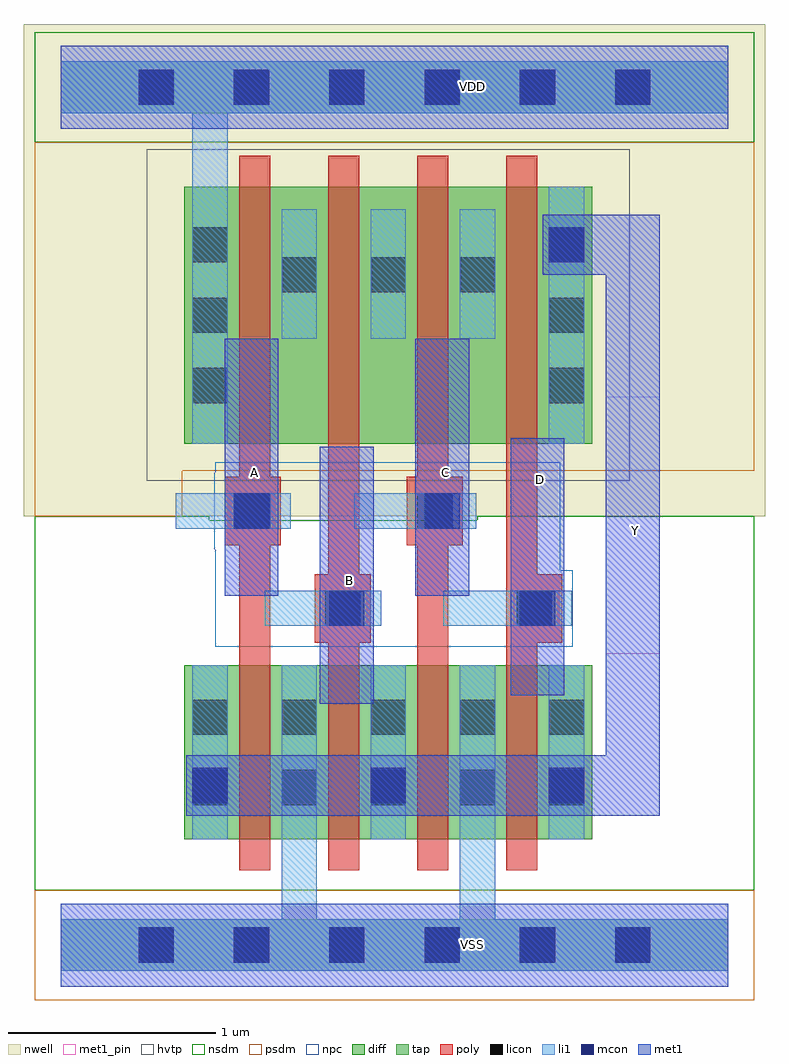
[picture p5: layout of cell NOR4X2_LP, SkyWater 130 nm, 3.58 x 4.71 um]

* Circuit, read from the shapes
.subckt NOR4X2_LP A B C D VDD VSS Y
XM1 VSS A Y VSS sky130_fd_pr__nfet_01v8 w=0.84 l=0.15
XM2 Y B VSS VSS sky130_fd_pr__nfet_01v8 w=0.84 l=0.15
XM3 VSS C Y VSS sky130_fd_pr__nfet_01v8 w=0.84 l=0.15
XM4 Y D VSS VSS sky130_fd_pr__nfet_01v8 w=0.84 l=0.15
XM5 n1 A VDD VDD sky130_fd_pr__pfet_01v8_hvt w=1.24 l=0.15
XM6 n2 B n1 VDD sky130_fd_pr__pfet_01v8_hvt w=1.24 l=0.15
XM7 n3 C n2 VDD sky130_fd_pr__pfet_01v8_hvt w=1.24 l=0.15
XM8 Y D n3 VDD sky130_fd_pr__pfet_01v8_hvt w=1.24 l=0.15
.ends

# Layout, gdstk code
from math import pi, radians
import gdstk
lib = gdstk.Library(unit=1e-6, precision=1e-09)
def R(c, l, rs):  # rectangles x0, y0, x1, y1
    for r in rs: c.add(gdstk.rectangle(r[:2], r[2:], *l))
def A(c, l, x, y, w, h, nx, ny, dx, dy):  # array of equal rectangles
    R(c, l, [(x+i*dx, y+j*dy, x+i*dx+w, y+j*dy+h) for i in range(nx) for j in range(ny)])
def P(c, l, *ps):  # polygons
    for p in ps: c.add(gdstk.Polygon(p, *l))
nwell = (64, 20)
diff = (65, 20)
tap = (65, 44)
poly = (66, 20)
licon = (66, 44)
li1 = (67, 20)
mcon = (67, 44)
met1_pin = (68, 16)
met1 = (68, 20)
hvtp = (78, 44)
nsdm = (93, 44)
psdm = (94, 20)
npc = (95, 20)

licondiff_c_cdns_7520169 = lib.new_cell('LICONDIFF_C_CDNS_752016907004')
R(licondiff_c_cdns_7520169, diff, [(-0.125,-0.145,0.125,0.145)])
R(licondiff_c_cdns_7520169, licon, [(-0.085,-0.085,0.085,0.085), (-0.085,-0.085,0.085,0.085)])

l1m1_c_cdns_752016907003 = lib.new_cell('L1M1_C_CDNS_752016907003')
R(l1m1_c_cdns_752016907003, li1, [(-0.165,-0.085,0.165,0.085)])
R(l1m1_c_cdns_752016907003, mcon, [(-0.085,-0.085,0.085,0.085)])
R(l1m1_c_cdns_752016907003, met1, [(-0.115,-0.145,0.115,0.145)])

l1m1_c_cdns_752016907001 = lib.new_cell('L1M1_C_CDNS_752016907001')
R(l1m1_c_cdns_752016907001, li1, [(-0.085,-0.165,0.085,0.165)])
R(l1m1_c_cdns_752016907001, mcon, [(-0.085,-0.085,0.085,0.085)])
R(l1m1_c_cdns_752016907001, met1, [(-0.115,-0.145,0.115,0.145)])

pyl1con_c_cdns_752016907 = lib.new_cell('PYL1CON_C_CDNS_752016907000')
R(pyl1con_c_cdns_752016907, poly, [(-0.135,-0.165,0.135,0.165)])
R(pyl1con_c_cdns_752016907, licon, [(-0.085,-0.085,0.085,0.085)])
R(pyl1con_c_cdns_752016907, npc, [(-0.185,-0.185,0.185,0.185)])

nor4x2_lp = lib.new_cell('NOR4X2_LP')
R(nor4x2_lp, nwell, [(-0.18,2.07,3.4,4.445)])
R(nor4x2_lp, diff, [(0.595,0.51,2.565,1.35), (0.595,2.42,2.565,3.66)])
A(nor4x2_lp, poly, 0.86, 0.36, 0.15, 3.45, 4, 1, 0.43, 0)
A(nor4x2_lp, licon, 0.375, -0.085, 0.17, 0.17, 6, 2, 0.46, 4.14)
A(nor4x2_lp, licon, 0.635, 0.675, 0.17, 0.17, 5, 2, 0.43, 0.34)
A(nor4x2_lp, licon, 0.635, 2.615, 0.17, 0.17, 1, 3, 0, 0.34)
A(nor4x2_lp, licon, 2.355, 2.615, 0.17, 0.17, 1, 3, 0, 0.34)
A(nor4x2_lp, li1, 0.635, 0.51, 0.17, 0.84, 3, 1, 0.86, 0)
R(nor4x2_lp, li1, [(2.355,2.42,2.525,3.66)])
P(nor4x2_lp, li1, [(3.22,4.265),(0,4.265),(0,4.015),(0.635,4.015),(0.635,2.42),(0.805,2.42),(0.805,4.015),(3.22,4.015)],
  [(3.22,0.125),(2.095,0.125),(2.095,1.35),(1.925,1.35),(1.925,0.125),(1.235,0.125),(1.235,1.35),(1.065,1.35),(1.065,0.125),(0,0.125),(0,-0.125),(3.22,-0.125)])
A(nor4x2_lp, mcon, 0.375, -0.085, 0.17, 0.17, 6, 2, 0.46, 4.14)
R(nor4x2_lp, met1_pin, [(1.25,1.165,1.51,2.405), (2.17,1.205,2.43,2.445), (2.63,1.405,2.89,2.645), (0.79,1.685,1.05,2.925), (1.71,1.685,1.97,2.925)])
P(nor4x2_lp, met1, [(2.89,3.525),(2.325,3.525),(2.325,3.235),(2.63,3.235),(2.63,0.915),(0.72,0.915),(0.72,0.625),(2.89,0.625)])
R(nor4x2_lp, hvtp, [(0.415,2.24,2.745,3.84)])
R(nor4x2_lp, nsdm, [(-0.125,3.875,3.345,4.405)])
P(nor4x2_lp, nsdm, [(3.345,2.07),(2.01,2.07),(2.01,2.05),(0.715,2.05),(0.715,2.07),(-0.125,2.07),(-0.125,0.265),(3.345,0.265)])
R(nor4x2_lp, psdm, [(-0.125,-0.265,3.345,0.265)])
P(nor4x2_lp, psdm, [(3.345,3.875),(-0.125,3.875),(-0.125,2.07),(0.585,2.07),(0.585,2.29),(3.345,2.29)])
R(nor4x2_lp, npc, [(0.745,1.44,2.41,2.33)])
nor4x2_lp.add(gdstk.FlexPath([(1.845,1.625),(2.405,1.625)], 0.17, ends="flush", simple_path=True, layer=67, datatype=20))  # li1
nor4x2_lp.add(gdstk.FlexPath([(2.01,2.925),(2.01,3.55)], 0.17, ends="flush", simple_path=True, layer=67, datatype=20))  # li1
nor4x2_lp.add(gdstk.FlexPath([(0.555,2.095),(1.11,2.095)], 0.17, ends="flush", simple_path=True, layer=67, datatype=20))  # li1
nor4x2_lp.add(gdstk.FlexPath([(1.415,2.095),(1.97,2.095)], 0.17, ends="flush", simple_path=True, layer=67, datatype=20))  # li1
nor4x2_lp.add(gdstk.FlexPath([(0.985,1.625),(1.54,1.625)], 0.17, ends="flush", simple_path=True, layer=67, datatype=20))  # li1
nor4x2_lp.add(gdstk.FlexPath([(1.58,2.925),(1.58,3.55)], 0.17, ends="flush", simple_path=True, layer=67, datatype=20))  # li1
nor4x2_lp.add(gdstk.FlexPath([(1.15,2.925),(1.15,3.55)], 0.17, ends="flush", simple_path=True, layer=67, datatype=20))  # li1
nor4x2_lp.add(gdstk.FlexPath([(0,4.14),(3.22,4.14)], 0.25, ends="flush", simple_path=True, layer=65, datatype=44))  # tap
nor4x2_lp.add(gdstk.FlexPath([(0,0),(3.22,0)], 0.25, ends="flush", simple_path=True, layer=65, datatype=44))  # tap
nor4x2_lp.add(gdstk.FlexPath([(0,4.14),(3.22,4.14)], 0.4, ends="flush", simple_path=True, layer=68, datatype=20))  # met1
nor4x2_lp.add(gdstk.FlexPath([(0,0),(3.22,0)], 0.4, ends="flush", simple_path=True, layer=68, datatype=20))  # met1
nor4x2_lp.add(gdstk.FlexPath([(1.84,1.685),(1.84,2.925)], 0.26, ends="flush", simple_path=True, layer=68, datatype=20))  # met1
nor4x2_lp.add(gdstk.FlexPath([(2.3,1.205),(2.3,2.445)], 0.26, ends="flush", simple_path=True, layer=68, datatype=20))  # met1
nor4x2_lp.add(gdstk.FlexPath([(0.92,1.685),(0.92,2.925)], 0.26, ends="flush", simple_path=True, layer=68, datatype=20))  # met1
nor4x2_lp.add(gdstk.FlexPath([(1.38,1.165),(1.38,2.405)], 0.26, ends="flush", simple_path=True, layer=68, datatype=20))  # met1
nor4x2_lp.add(gdstk.FlexPath([(0,0),(3.22,0)], 0.4, ends="flush", simple_path=True, layer=68, datatype=16))  # met1_pin
nor4x2_lp.add(gdstk.FlexPath([(0,4.14),(3.22,4.14)], 0.4, ends="flush", simple_path=True, layer=68, datatype=16))  # met1_pin
nor4x2_lp.add(gdstk.Reference(licondiff_c_cdns_7520169, (2.01,3.235)))
nor4x2_lp.add(gdstk.Reference(licondiff_c_cdns_7520169, (1.15,3.235)))
nor4x2_lp.add(gdstk.Reference(licondiff_c_cdns_7520169, (1.58,3.235)))
nor4x2_lp.add(gdstk.Reference(l1m1_c_cdns_752016907003, (2.3,1.625), x_reflection=True))
nor4x2_lp.add(gdstk.Reference(l1m1_c_cdns_752016907003, (1.38,1.625), x_reflection=True))
nor4x2_lp.add(gdstk.Reference(l1m1_c_cdns_752016907003, (1.84,2.095), x_reflection=True))
nor4x2_lp.add(gdstk.Reference(l1m1_c_cdns_752016907003, (0.92,2.095), x_reflection=True))
nor4x2_lp.add(gdstk.Reference(l1m1_c_cdns_752016907001, (0.72,0.77)))
nor4x2_lp.add(gdstk.Reference(l1m1_c_cdns_752016907001, (2.44,3.38)))
nor4x2_lp.add(gdstk.Reference(l1m1_c_cdns_752016907001, (2.44,0.77)))
nor4x2_lp.add(gdstk.Reference(l1m1_c_cdns_752016907001, (1.58,0.77)))
nor4x2_lp.add(gdstk.Reference(pyl1con_c_cdns_752016907, (2.285,1.625)))
nor4x2_lp.add(gdstk.Reference(pyl1con_c_cdns_752016907, (1.805,2.095)))
nor4x2_lp.add(gdstk.Reference(pyl1con_c_cdns_752016907, (1.36,1.625)))
nor4x2_lp.add(gdstk.Reference(pyl1con_c_cdns_752016907, (0.925,2.095), rotation=pi, x_reflection=True))
nor4x2_lp.add(gdstk.Label('VSS', (1.985,0.005), layer=68, texttype=5))
nor4x2_lp.add(gdstk.Label('VDD', (1.985,4.145), layer=68, texttype=5))
nor4x2_lp.add(gdstk.Label('VDD', (1.985,4.145), layer=68, texttype=5))
nor4x2_lp.add(gdstk.Label('Y', (2.775,2), layer=68, texttype=5))
nor4x2_lp.add(gdstk.Label('C', (1.855,2.28), layer=68, texttype=5))
nor4x2_lp.add(gdstk.Label('B', (1.395,1.76), layer=68, texttype=5))
nor4x2_lp.add(gdstk.Label('D', (2.315,2.245), layer=68, texttype=5))
nor4x2_lp.add(gdstk.Label('A', (0.935,2.28), layer=68, texttype=5))

lib.write_gds('NOR4X2_LP.gds')
